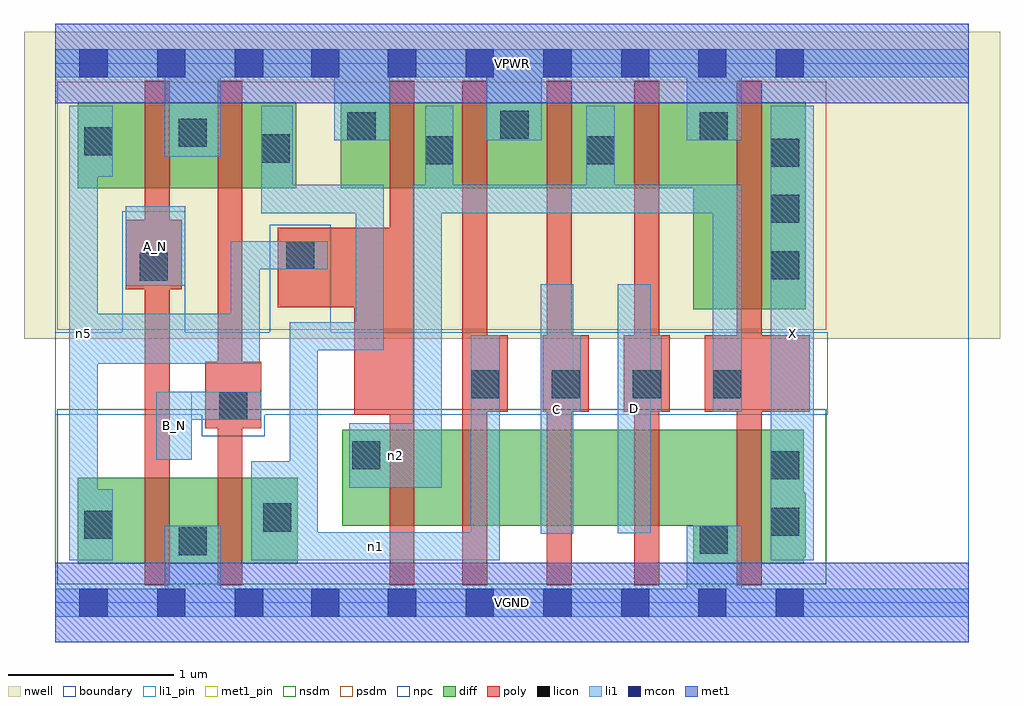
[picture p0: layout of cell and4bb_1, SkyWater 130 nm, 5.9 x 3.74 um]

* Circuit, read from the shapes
.subckt and4bb_1 A_N B_N C D VGND VPWR X n1 n2 n5
XM1 VGND A_N n5 VSUBS sky130_fd_pr__nfet_01v8 w=0.52 l=0.15
XM2 n1 B_N VGND VSUBS sky130_fd_pr__nfet_01v8 w=0.52 l=0.15
XM3 n3 n5 n2 VSUBS sky130_fd_pr__nfet_01v8 w=0.58 l=0.15
XM4 n4 n1 n3 VSUBS sky130_fd_pr__nfet_01v8 w=0.58 l=0.15
XM5 n6 C n4 VSUBS sky130_fd_pr__nfet_01v8 w=0.58 l=0.15
XM6 VGND D n6 VSUBS sky130_fd_pr__nfet_01v8 w=0.58 l=0.15
XM7 X n2 VGND VSUBS sky130_fd_pr__nfet_01v8 w=0.81 l=0.15
XM8 VPWR A_N n5 n7 sky130_fd_pr__pfet_01v8 w=0.52 l=0.15
XM9 n1 B_N VPWR n7 sky130_fd_pr__pfet_01v8 w=0.52 l=0.15
XM10 n2 n5 VPWR n7 sky130_fd_pr__pfet_01v8 w=0.52 l=0.15
XM11 VPWR n1 n2 n7 sky130_fd_pr__pfet_01v8 w=0.52 l=0.15
XM12 n2 C VPWR n7 sky130_fd_pr__pfet_01v8 w=0.52 l=0.15
XM13 VPWR D n2 n7 sky130_fd_pr__pfet_01v8 w=0.52 l=0.15
XM14 X n2 VPWR n7 sky130_fd_pr__pfet_01v8 w=1.25 l=0.15
.ends

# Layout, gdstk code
import gdstk
lib = gdstk.Library(unit=1e-6, precision=1e-09)
def R(c, l, rs):  # rectangles x0, y0, x1, y1
    for r in rs: c.add(gdstk.rectangle(r[:2], r[2:], *l))
def A(c, l, x, y, w, h, nx, ny, dx, dy):  # array of equal rectangles
    R(c, l, [(x+i*dx, y+j*dy, x+i*dx+w, y+j*dy+h) for i in range(nx) for j in range(ny)])
nwell = (64, 20)
diff = (65, 20)
poly = (66, 20)
licon = (66, 44)
li1_pin = (67, 16)
li1 = (67, 20)
mcon = (67, 44)
met1_pin = (68, 16)
met1 = (68, 20)
nsdm = (93, 44)
psdm = (94, 20)
npc = (95, 20)
boundary = (235, 4)

and4bb_1 = lib.new_cell('and4bb_1')
R(and4bb_1, nwell, [(-0.19,1.595,5.71,3.45), (0,1.595,5.52,3.45)])
R(and4bb_1, diff, [(0.135,0.235,1.465,0.755), (3.855,0.235,4.525,1.045), (3.855,0.275,4.535,0.665), (1.735,0.465,4.525,1.045), (3.855,1.775,4.535,3.025), (0.135,2.505,1.455,3.025), (1.725,2.505,4.535,3.025)])
R(and4bb_1, poly, [(0.54,0.105,0.69,3.155), (0.98,0.105,1.13,3.155), (2.02,0.105,2.17,3.155), (2.46,0.105,2.61,3.155), (2.97,0.105,3.12,3.155), (3.5,0.105,3.65,3.155), (4.12,0.105,4.27,3.155), (0.905,1.055,1.245,1.455), (1.805,1.135,2.17,2.265), (2.46,1.155,2.735,1.615), (2.945,1.155,3.225,1.615), (3.435,1.155,3.715,1.615), (3.925,1.155,4.56,1.615), (1.345,1.785,2.17,2.265), (0.425,1.895,0.765,2.315)])
A(and4bb_1, licon, 2.51, 1.235, 0.17, 0.17, 3, 1, 0.49, 0)
A(and4bb_1, licon, 4.325, 1.955, 0.17, 0.17, 1, 3, 0, 0.34)
R(and4bb_1, licon, [(0.745,0.285,0.915,0.455), (3.895,0.295,4.065,0.465), (0.175,0.385,0.345,0.555), (4.325,0.405,4.495,0.575), (1.255,0.43,1.425,0.6), (4.325,0.745,4.495,0.915), (1.795,0.805,1.965,0.975), (0.99,1.105,1.16,1.275), (3.975,1.235,4.145,1.405), (0.51,1.945,0.68,2.115), (1.395,2.015,1.565,2.185), (2.235,2.65,2.405,2.82), (3.21,2.65,3.38,2.82), (1.245,2.66,1.415,2.83), (0.175,2.705,0.345,2.875), (0.745,2.755,0.915,2.925), (1.765,2.795,1.935,2.965), (3.895,2.795,4.065,2.965), (2.69,2.805,2.86,2.975)])
R(and4bb_1, li1_pin, [(4.325,0.255,4.585,3.005), (2.935,0.415,3.13,1.925), (3.4,0.42,3.6,1.925), (0.61,0.865,0.825,1.275), (0.425,1.915,0.785,2.395)])
R(and4bb_1, li1, [(0,-0.085,5.52,0.085), (0.66,-0.085,1,0.465), (3.815,-0.085,4.15,0.465), (0.085,0.255,0.255,3.005), (0.085,0.255,0.345,0.685), (1.185,0.255,2.685,0.425), (1.185,0.255,1.585,0.855), (1.415,0.255,1.585,1.695), (2.51,0.255,2.685,1.615), (4.325,0.255,4.585,3.005), (2.935,0.415,3.13,1.925), (3.4,0.42,3.6,1.925), (1.775,0.695,2.335,1.085), (2.16,0.695,2.335,2.525), (0.61,0.865,0.825,1.275), (0.61,1.105,1.245,1.275), (2.935,1.155,3.175,1.615), (3.4,1.155,3.665,1.615), (3.975,1.155,4.15,2.525), (0.085,1.445,1.235,1.745), (1.06,1.445,1.235,2.185), (1.415,1.525,1.985,1.695), (1.815,1.525,1.985,2.525), (0.425,1.915,0.785,2.395), (1.06,2.015,1.645,2.185), (1.245,2.355,1.435,3.005), (1.245,2.355,1.985,2.525), (2.16,2.355,4.15,2.525), (2.235,2.355,2.405,3.005), (3.21,2.355,3.38,3.005), (0.085,2.575,0.345,3.005), (0.66,2.695,1,3.345), (1.685,2.795,2.02,3.345), (2.605,2.795,2.94,3.345), (3.815,2.795,4.15,3.345), (0,3.175,5.52,3.345)])
A(and4bb_1, mcon, 0.145, -0.085, 0.17, 0.17, 3, 2, 0.47, 3.26)
A(and4bb_1, mcon, 2.01, -0.085, 0.17, 0.17, 4, 2, 0.47, 3.26)
R(and4bb_1, mcon, [(1.545,-0.085,1.715,0.085), (3.885,-0.085,4.055,0.085), (4.355,-0.085,4.525,0.085), (1.545,3.175,1.715,3.345), (3.885,3.175,4.055,3.345), (4.355,3.175,4.525,3.345)])
R(and4bb_1, met1_pin, [(0,-0.24,5.52,0.24), (0,3.02,5.52,3.5)])
R(and4bb_1, met1, [(0,-0.24,5.52,0.24), (0,3.02,5.52,3.5)])
R(and4bb_1, nsdm, [(0.01,0.11,4.66,1.17)])
R(and4bb_1, psdm, [(0.01,1.65,4.66,3.15)])
R(and4bb_1, npc, [(0.885,1.005,1.265,1.635), (0,1.135,4.67,1.635), (0.405,1.135,0.785,2.365), (1.295,1.135,1.665,2.285)])
R(and4bb_1, boundary, [(0,0,5.52,3.26)])
and4bb_1.add(gdstk.Label('A_N', (0.605,2.155), layer=67, texttype=5))
and4bb_1.add(gdstk.Label('B_N', (0.717,1.07), layer=67, texttype=5))
and4bb_1.add(gdstk.Label('C', (3.032,1.17), layer=67, texttype=5))
and4bb_1.add(gdstk.Label('D', (3.5,1.172), layer=67, texttype=5))
and4bb_1.add(gdstk.Label('X', (4.455,1.63), layer=67, texttype=5))
and4bb_1.add(gdstk.Label('n5', (0.17,1.63), layer=67, texttype=5))
and4bb_1.add(gdstk.Label('n1', (1.935,0.34), layer=67, texttype=5))
and4bb_1.add(gdstk.Label('n2', (2.055,0.89), layer=67, texttype=5))
and4bb_1.add(gdstk.Label('VPWR', (2.76,3.26), layer=68, texttype=5))
and4bb_1.add(gdstk.Label('VGND', (2.76,0), layer=68, texttype=5))
and4bb_1.add(gdstk.Label('A_N', (0.605,2.155), layer=67, texttype=16))
and4bb_1.add(gdstk.Label('B_N', (0.717,1.07), layer=67, texttype=16))
and4bb_1.add(gdstk.Label('C', (3.032,1.17), layer=67, texttype=16))
and4bb_1.add(gdstk.Label('D', (3.5,1.172), layer=67, texttype=16))
and4bb_1.add(gdstk.Label('X', (4.455,1.63), layer=67, texttype=16))
and4bb_1.add(gdstk.Label('VPWR', (2.76,3.26), layer=68, texttype=16))
and4bb_1.add(gdstk.Label('VGND', (2.76,0), layer=68, texttype=16))

lib.write_gds('and4bb_1.gds')
